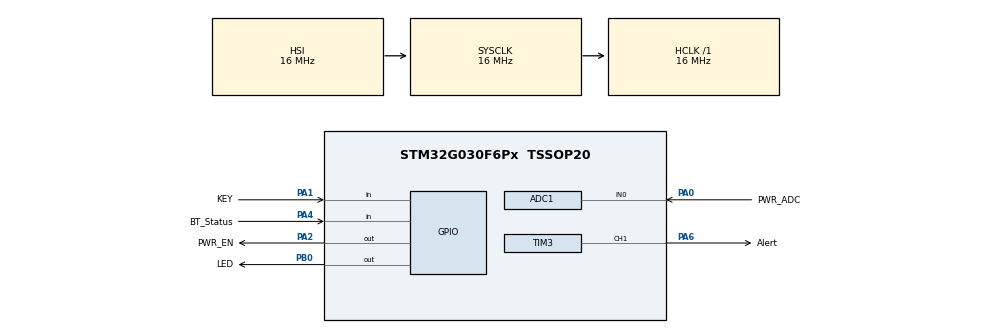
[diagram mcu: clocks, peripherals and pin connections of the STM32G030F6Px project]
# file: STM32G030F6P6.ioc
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ADC1.Channel-0\#ChannelRegularConversion=ADC_CHANNEL_0
ADC1.NbrOfConversionFlag=1
ADC1.Rank-0\#ChannelRegularConversion=1
ADC1.SamplingTime-0\#ChannelRegularConversion=ADC_SAMPLINGTIME_COMMON_1
ADC1.SelectedChannel=ADC_CHANNEL_0
ADC1.master=1
IWDG.Prescaler=IWDG_PRESCALER_32
Mcu.Family=STM32G0
Mcu.Name=STM32G030F6Px
Mcu.Package=TSSOP20
NVIC.TIM1_BRK_UP_TRG_COM_IRQn=true\:0\:0\:false\:false\:true\:true\:true\:true
PA0.GPIO_Label=PWR_ADC
PA0.Mode=IN0
PA0.Signal=ADC1_IN0
PA1.GPIO_Label=KEY
PA1.GPIO_PuPd=GPIO_PULLUP
PA1.Signal=GPIO_Input
PA13.Mode=Serial_Wire
PA13.Signal=SYS_SWDIO
PA14-BOOT0.Mode=Serial_Wire
PA14-BOOT0.Signal=SYS_SWCLK
PA14-BOOT0__PA15.StandardMode=true
PA2.GPIO_Label=PWR_EN
PA2.GPIO_PuPd=GPIO_PULLDOWN
PA2.Signal=GPIO_Output
PA4.GPIO_Label=BT_Status
PA4.Signal=GPIO_Input
PA6.GPIO_Label=Alert
PA6.Signal=S_TIM3_CH1
PB0.GPIO_Label=LED
PB0.Signal=GPIO_Output
PB0__PB1__PB2__PA8.StandardMode=true
PB3__PB4__PB5__PB6.StandardMode=true
PB7__PB8.StandardMode=true
PC14-OSC32_IN\ (PC14)__PB9.StandardMode=true
ProjectManager.HeapSize=0x200
ProjectManager.StackSize=0x400
ProjectManager.TargetToolchain=MDK-ARM V5.32
RCC.AHBFreq_Value=16000000
RCC.CortexFreq_Value=16000000
RCC.EXTERNAL_CLOCK_VALUE=12288000
RCC.HCLKFreq_Value=16000000
RCC.HSE_VALUE=8000000
RCC.HSI_VALUE=16000000
RCC.LSE_VALUE=32768
RCC.SYSCLKFreq_VALUE=16000000
RCC.VCOOutputFreq_Value=128000000
SH.S_TIM3_CH1.0=TIM3_CH1,PWM Generation1 CH1
TIM1.Period=500-1
TIM1.Prescaler=160-1
TIM3.Channel-PWM\ Generation1\ CH1=TIM_CHANNEL_1
TIM3.Channel-PWM\ Generation1\ No\ Output=TIM_CHANNEL_1
TIM3.Period=250-1
TIM3.Prescaler=16-1
VP_IWDG_VS_IWDG.Mode=IWDG_Activate
VP_TIM1_VS_ClockSourceINT.Mode=Internal
board=custom

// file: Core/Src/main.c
/* USER CODE BEGIN Header */
/**
 ******************************************************************************
 * @file           : main.c
 * @brief          : Main program body
 ******************************************************************************
 * @attention
 *
 * Copyright (c) 2023 STMicroelectronics.
 * All rights reserved.
 *
 * This software is licensed under terms that can be found in the LICENSE file
 * in the root directory of this software component.
 * If no LICENSE file comes with this software, it is provided AS-IS.
 *
 ******************************************************************************
 */
/* USER CODE END Header */
#include "main.h"
#include "adc.h"
#include "iwdg.h"
#include "tim.h"
#include "gpio.h"

/* USER CODE BEGIN Includes */
#include "dr_button_api.h"

/* USER CODE END Includes */

void SystemClock_Config(void);

/* USER CODE BEGIN 0 */
int key = 0, pwr_flag = 0, BT_Status = 0, times = 0, pwroff = 0;
uint16_t pwr_value;

/**
 * @brief
 *
 * @param ms
 * @param freq
 */
void Beep(int ms, int freq)
{
  __HAL_TIM_SET_COMPARE(&htim3, TIM_CHANNEL_1, freq);
  HAL_Delay(ms);
  __HAL_TIM_SET_COMPARE(&htim3, TIM_CHANNEL_1, 0);
}

/**
 * @brief
 *
 */
void Turnon()
{
  HAL_GPIO_WritePin(LED_GPIO_Port, LED_Pin, GPIO_PIN_SET);
  Beep(250, 50);

  HAL_GPIO_WritePin(LED_GPIO_Port, LED_Pin, GPIO_PIN_RESET);
  Beep(100, 0);

  HAL_GPIO_WritePin(LED_GPIO_Port, LED_Pin, GPIO_PIN_SET);
  Beep(250, 50);

  HAL_GPIO_WritePin(PWR_EN_GPIO_Port, PWR_EN_Pin, GPIO_PIN_SET);
  while (HAL_GPIO_ReadPin(KEY_GPIO_Port, KEY_Pin) == GPIO_PIN_RESET)
    ;
  pwr_flag = 1;
}

/**
 * @brief
 *
 */
void Turnoff()
{
  HAL_GPIO_WritePin(LED_GPIO_Port, LED_Pin, GPIO_PIN_RESET);
  Beep(300, 50);
  HAL_GPIO_WritePin(PWR_EN_GPIO_Port, PWR_EN_Pin, GPIO_PIN_RESET);
  Beep(300, 0);
}

void HAL_TIM_PeriodElapsedCallback(TIM_HandleTypeDef *htim)
{
  if (htim->Instance == TIM1)
  {
    Key_Tick();
    key = Get_Key();

    HAL_ADC_Start(&hadc1);
    HAL_ADC_PollForConversion(&hadc1, 1);
    pwr_value = HAL_ADC_GetValue(&hadc1);

    if (key == 3 || pwr_value < 1200)
      pwr_flag = 0;
    else
      pwr_flag = 1;
  }
}

/* USER CODE END 0 */

int main(void)
{

  /* MCU Configuration--------------------------------------------------------*/

  /* Reset of all peripherals, Initializes the Flash interface and the Systick. */
  HAL_Init();

  /* Configure the system clock */
  SystemClock_Config();

  /* Initialize all configured peripherals */
  MX_GPIO_Init();
  MX_ADC1_Init();
  MX_TIM3_Init();
  MX_TIM1_Init();
  //MX_IWDG_Init();
  /* USER CODE BEGIN 2 */
  // TIM1 Prescaler: 160-1, Period: 500-1
  // TIM3 Prescaler: 16-1, Period: 250-1
  HAL_TIM_PWM_Start(&htim3, TIM_CHANNEL_1);
  HAL_Delay(125);
  Turnon();

  DR_Key_Init();
  HAL_TIM_Base_Start_IT(&htim1);
  HAL_Delay(1000);
  MX_IWDG_Init();

  /* USER CODE END 2 */

  /* Infinite loop */
  /* USER CODE BEGIN WHILE */
  while (1)
  {

    if (pwr_flag == 0)
    {
      Turnoff(); //
      pwroff = 1;
    }
    else
    {
      if (pwroff != 1)
        HAL_GPIO_WritePin(LED_GPIO_Port, LED_Pin, HAL_GPIO_ReadPin(BT_Status_GPIO_Port, BT_Status_Pin));
    }

    HAL_IWDG_Refresh(&hiwdg);

    /* USER CODE END WHILE */

  }
}

void SystemClock_Config(void)
{
  RCC_OscInitTypeDef RCC_OscInitStruct = {0};
  RCC_ClkInitTypeDef RCC_ClkInitStruct = {0};

  /** Configure the main internal regulator output voltage
  */
  HAL_PWREx_ControlVoltageScaling(PWR_REGULATOR_VOLTAGE_SCALE1);

  /** Initializes the RCC Oscillators according to the specified parameters
  * in the RCC_OscInitTypeDef structure.
  */
  RCC_OscInitStruct.OscillatorType = RCC_OSCILLATORTYPE_HSI|RCC_OSCILLATORTYPE_LSI;
  RCC_OscInitStruct.HSIState = RCC_HSI_ON;
  RCC_OscInitStruct.HSIDiv = RCC_HSI_DIV1;
  RCC_OscInitStruct.HSICalibrationValue = RCC_HSICALIBRATION_DEFAULT;
  RCC_OscInitStruct.LSIState = RCC_LSI_ON;
  RCC_OscInitStruct.PLL.PLLState = RCC_PLL_NONE;
  if (HAL_RCC_OscConfig(&RCC_OscInitStruct) != HAL_OK)
  {
    Error_Handler();
  }

  /** Initializes the CPU, AHB and APB buses clocks
  */
  RCC_ClkInitStruct.ClockType = RCC_CLOCKTYPE_HCLK|RCC_CLOCKTYPE_SYSCLK
                              |RCC_CLOCKTYPE_PCLK1;
  RCC_ClkInitStruct.SYSCLKSource = RCC_SYSCLKSOURCE_HSI;
  RCC_ClkInitStruct.AHBCLKDivider = RCC_SYSCLK_DIV1;
  RCC_ClkInitStruct.APB1CLKDivider = RCC_HCLK_DIV1;

  if (HAL_RCC_ClockConfig(&RCC_ClkInitStruct, FLASH_LATENCY_0) != HAL_OK)
  {
    Error_Handler();
  }
}

void Error_Handler(void)
{
  __disable_irq();
  while (1)
  {
  }
}
